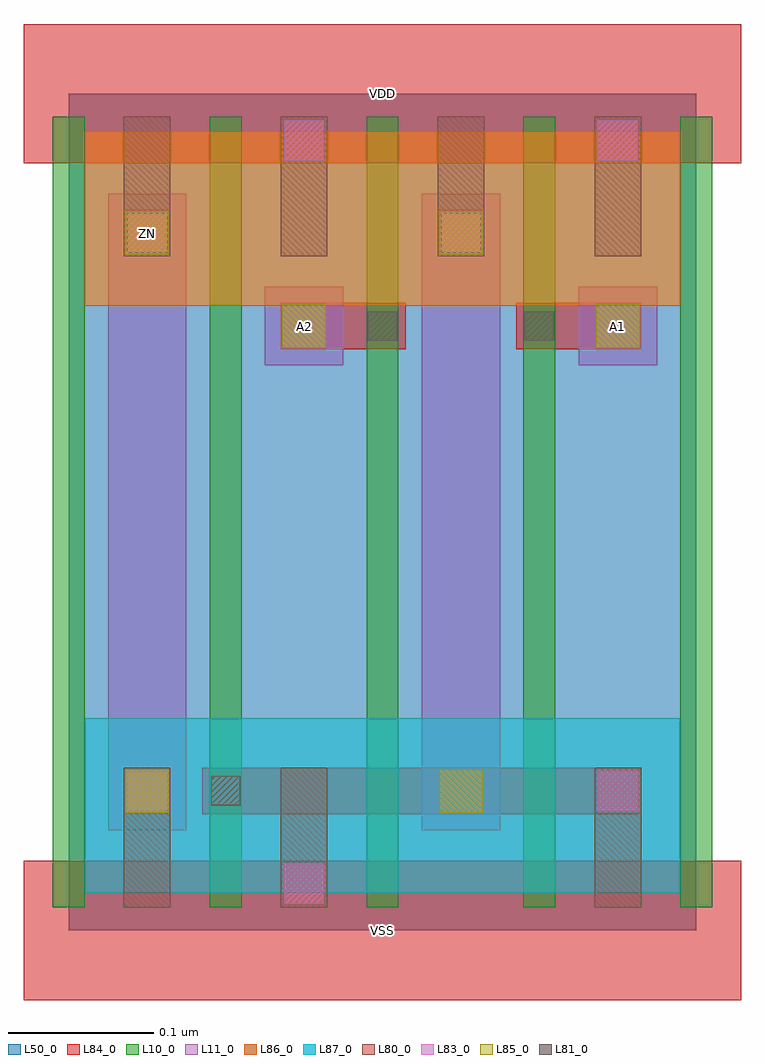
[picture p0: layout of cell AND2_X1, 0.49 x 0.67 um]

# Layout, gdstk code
import gdstk
lib = gdstk.Library(unit=1e-6, precision=1e-09)
def R(c, l, rs):  # rectangles x0, y0, x1, y1
    for r in rs: c.add(gdstk.rectangle(r[:2], r[2:], *l))
def A(c, l, x, y, w, h, nx, ny, dx, dy):  # array of equal rectangles
    R(c, l, [(x+i*dx, y+j*dy, x+i*dx+w, y+j*dy+h) for i in range(nx) for j in range(ny)])
L10_0 = (10, 0)
L11_0 = (11, 0)
L50_0 = (50, 0)
L80_0 = (80, 0)
L81_0 = (81, 0)
L83_0 = (83, 0)
L84_0 = (84, 0)
L85_0 = (85, 0)
L86_0 = (86, 0)
L87_0 = (87, 0)

and2_x1 = lib.new_cell('AND2_X1')
A(and2_x1, L10_0, -0.011, 0.016, 0.022, 0.544, 5, 1, 0.108, 0)
R(and2_x1, L11_0, [(0.027,0.069,0.081,0.507), (0.243,0.069,0.297,0.507), (0.135,0.389,0.189,0.443), (0.351,0.389,0.405,0.443)])
R(and2_x1, L50_0, [(0,0,0.432,0.576)])
A(and2_x1, L80_0, 0.038, 0.464, 0.032, 0.096, 4, 1, 0.108, 0)
R(and2_x1, L80_0, [(0.038,0.016,0.07,0.112), (0.146,0.016,0.178,0.112), (0.362,0.016,0.394,0.112)])
R(and2_x1, L81_0, [(0.098,0.086,0.118,0.106), (0.206,0.406,0.226,0.426), (0.314,0.406,0.334,0.426)])
R(and2_x1, L83_0, [(0.148,0.018,0.176,0.046), (0.04,0.082,0.068,0.11), (0.364,0.082,0.392,0.11), (0.04,0.466,0.068,0.494), (0.256,0.466,0.284,0.494), (0.148,0.53,0.176,0.558), (0.364,0.53,0.392,0.558)])
R(and2_x1, L84_0, [(-0.031,-0.048,0.463,0.048), (0.038,0.08,0.07,0.112), (0.092,0.08,0.394,0.112), (0.146,0.4,0.232,0.432), (0.308,0.4,0.394,0.432), (0.038,0.464,0.07,0.496), (0.254,0.464,0.286,0.496), (-0.031,0.528,0.463,0.624)])
R(and2_x1, L85_0, [(0.039,0.081,0.069,0.111), (0.255,0.081,0.285,0.111), (0.147,0.401,0.177,0.431), (0.363,0.401,0.393,0.431), (0.039,0.465,0.069,0.495), (0.255,0.465,0.285,0.495)])
R(and2_x1, L86_0, [(0.011,0.43,0.421,0.55)])
R(and2_x1, L87_0, [(0.011,0.026,0.421,0.146)])
and2_x1.add(gdstk.Label('VDD', (0.216,0.576), layer=88, texttype=0))
and2_x1.add(gdstk.Label('VSS', (0.216,0), layer=88, texttype=0))
and2_x1.add(gdstk.Label('ZN', (0.054,0.48), layer=31, texttype=0))
and2_x1.add(gdstk.Label('A2', (0.162,0.416), layer=31, texttype=0))
and2_x1.add(gdstk.Label('A1', (0.378,0.416), layer=31, texttype=0))

lib.write_gds('AND2_X1.gds')
